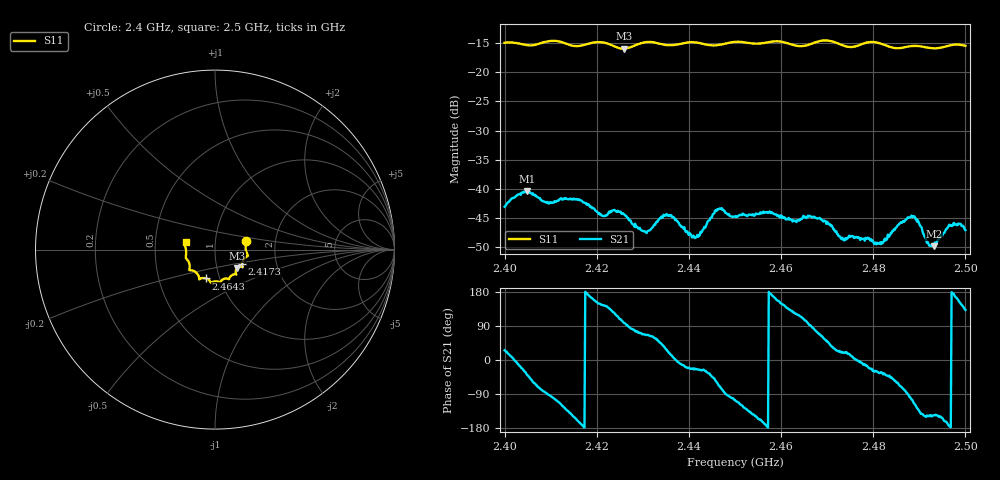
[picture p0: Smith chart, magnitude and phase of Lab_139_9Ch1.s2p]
# Hz S RI R 50
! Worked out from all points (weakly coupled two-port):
!   601 points, 2.4 GHz to 2.5 GHz, reference 50 ohm
!   highest |S21| = -40.40 dB at 2.4048 GHz (marker M1); lowest = -49.9 dB at 2.4932 GHz (marker M2)
!   lowest |S11| = -15.9 dB at 2.4258 GHz (marker M3), VSWR 1.38, Z = 62.3 - j13.3 ohm
!   |S11| at or under -10 dB: start of sweep to end of sweep
!   S12 and S22 are empty: the file has one direction only
!   S11 on the Smith chart (normalised r, x): 2.4 GHz: 1.41, +0.14; 2.4173 GHz: 1.34, -0.23; 2.4643 GHz: 0.86, -0.28; 2.5 GHz: 0.72, +0.06
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2.4e9  0.1729 0.0489  0.00631 0.00303  0 0  0 0
2.404833e9  0.1707 0.0161  0.00746 -0.00597  0 0  0 0
2.409167e9  0.182 -0.0297  0.000243 -0.00755  0 0  0 0
2.416667e9  0.1528 -0.0748  -0.00778 -0.00142  0 0  0 0
2.417333e9  0.1518 -0.0821  -0.00757 -0.000222  0 0  0 0
2.421167e9  0.1536 -0.0963  -0.00479 0.00336  0 0  0 0
2.425833e9  0.1218 -0.1037  -0.000938 0.00602  0 0  0 0
2.430333e9  0.1183 -0.1372  0.00165 0.00396  0 0  0 0
2.433333e9  0.1128 -0.1373  0.00347 0.0041  0 0  0 0
2.436333e9  0.0917 -0.145  0.00558 0.0011  0 0  0 0
2.441167e9  0.077 -0.1648  0.00352 -0.00143  0 0  0 0
2.446167e9  0.0462 -0.1652  0.00325 -0.00584  0 0  0 0
2.45e9  0.0295 -0.1809  -0.00153 -0.00555  0 0  0 0
2.464333e9  -0.0499 -0.1604  -0.00223 0.00499  0 0  0 0
2.466667e9  -0.0758 -0.1595  0.000258 0.00568  0 0  0 0
2.4735e9  -0.0943 -0.1416  0.00343 0.00123  0 0  0 0
2.481167e9  -0.1426 -0.1083  0.00281 -0.00188  0 0  0 0
2.483333e9  -0.141 -0.0896  0.00281 -0.00265  0 0  0 0
2.4885e9  -0.1618 -0.0479  -0.00155 -0.00549  0 0  0 0
2.493167e9  -0.1606 -0.012  -0.00266 -0.0018  0 0  0 0
2.497e9  -0.1698 0.0268  -0.00486 9.22e-05  0 0  0 0
2.5e9  -0.1637 0.0426  -0.00297 0.00325  0 0  0 0
